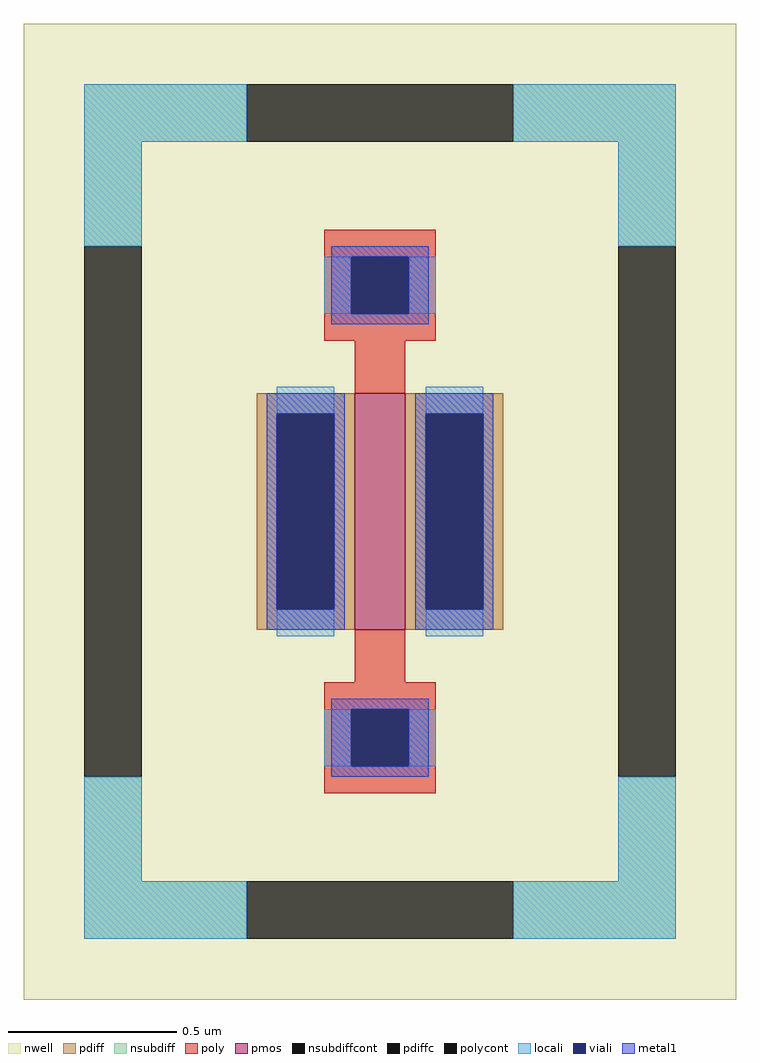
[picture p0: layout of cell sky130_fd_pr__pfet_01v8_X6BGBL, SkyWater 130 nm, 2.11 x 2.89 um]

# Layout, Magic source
magic
tech sky130A
magscale 1 2
<< nwell >>
rect -211 -289 211 289
<< pmos >>
rect -15 -70 15 70
<< pdiff >>
rect -73 58 -15 70
rect -73 -58 -61 58
rect -27 -58 -15 58
rect -73 -70 -15 -58
rect 15 58 73 70
rect 15 -58 27 58
rect 61 -58 73 58
rect 15 -70 73 -58
<< pdiffc >>
rect -61 -58 -27 58
rect 27 -58 61 58
<< nsubdiff >>
rect -175 219 -79 253
rect 79 219 175 253
rect -175 157 -141 219
rect 141 157 175 219
rect -175 -219 -141 -157
rect 141 -219 175 -157
rect -175 -253 -79 -219
rect 79 -253 175 -219
<< nsubdiffcont >>
rect -79 219 79 253
rect -175 -157 -141 157
rect 141 -157 175 157
rect -79 -253 79 -219
<< poly >>
rect -33 151 33 167
rect -33 117 -17 151
rect 17 117 33 151
rect -33 101 33 117
rect -15 70 15 101
rect -15 -101 15 -70
rect -33 -117 33 -101
rect -33 -151 -17 -117
rect 17 -151 33 -117
rect -33 -167 33 -151
<< polycont >>
rect -17 117 17 151
rect -17 -151 17 -117
<< locali >>
rect -175 219 -79 253
rect 79 219 175 253
rect -175 157 -141 219
rect 141 157 175 219
rect -33 117 -17 151
rect 17 117 33 151
rect -61 58 -27 74
rect -61 -74 -27 -58
rect 27 58 61 74
rect 27 -74 61 -58
rect -33 -151 -17 -117
rect 17 -151 33 -117
rect -175 -219 -141 -157
rect 141 -219 175 -157
rect -175 -253 -79 -219
rect 79 -253 175 -219
<< viali >>
rect -17 117 17 151
rect -61 -58 -27 58
rect 27 -58 61 58
rect -17 -151 17 -117
<< metal1 >>
rect -29 151 29 157
rect -29 117 -17 151
rect 17 117 29 151
rect -29 111 29 117
rect -67 58 -21 70
rect -67 -58 -61 58
rect -27 -58 -21 58
rect -67 -70 -21 -58
rect 21 58 67 70
rect 21 -58 27 58
rect 61 -58 67 58
rect 21 -70 67 -58
rect -29 -117 29 -111
rect -29 -151 -17 -117
rect 17 -151 29 -117
rect -29 -157 29 -151
<< properties >>
string FIXED_BBOX -158 -236 158 236
string gencell sky130_fd_pr__pfet_01v8
string library sky130
string parameters w 0.7 l 0.15 m 1 nf 1 diffcov 100 polycov 100 guard 1 glc 1 grc 1 gtc 1 gbc 1 tbcov 100 rlcov 100 topc 1 botc 1 poverlap 0 doverlap 1 lmin 0.15 wmin 0.42 compatible {sky130_fd_pr__pfet_01v8  sky130_fd_pr__pfet_01v8_lvt sky130_fd_pr__pfet_01v8_hvt  sky130_fd_pr__pfet_g5v0d10v5} full_metal 1 viasrc 100 viadrn 100 viagate 100 viagb 0 viagr 0 viagl 0 viagt 0
<< end >>
